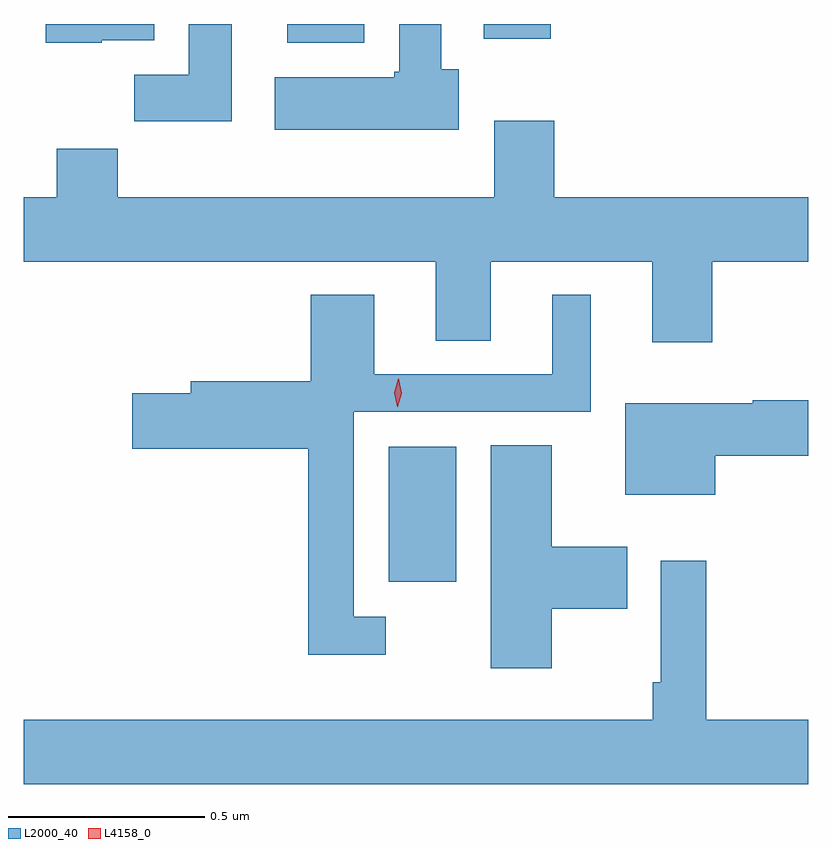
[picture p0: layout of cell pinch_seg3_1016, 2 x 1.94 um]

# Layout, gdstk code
import gdstk
lib = gdstk.Library(unit=1e-6, precision=1e-09)
def R(c, l, rs):  # rectangles x0, y0, x1, y1
    for r in rs: c.add(gdstk.rectangle(r[:2], r[2:], *l))
def P(c, l, *ps):  # polygons
    for p in ps: c.add(gdstk.Polygon(p, *l))
L2000_40 = (2000, 40)
L4158_0 = (4158, 0)

pinch_seg3_1016 = lib.new_cell('pinch_seg3_1016')
R(pinch_seg3_1016, L2000_40, [(463.469,693.44,463.642,693.784), (463.211,694.814,463.407,694.862), (463.712,694.824,463.883,694.862)])
P(pinch_seg3_1016, L2000_40, [(462.738,694.82),(462.871,694.82),(462.871,694.862),(462.595,694.862),(462.595,694.814),(462.738,694.814)],
  [(463.069,694.862),(462.959,694.862),(462.959,694.732),(462.82,694.732),(462.82,694.614),(463.069,694.614)],
  [(463.648,694.746),(463.603,694.746),(463.603,694.862),(463.496,694.862),(463.496,694.74),(463.483,694.74),(463.483,694.726),(463.179,694.726),(463.179,694.592),(463.648,694.592)],
  [(464.294,694.256),(464.539,694.256),(464.539,694.42),(463.892,694.42),(463.892,694.615),(463.739,694.615),(463.739,694.42),(462.779,694.42),(462.779,694.544),(462.623,694.544),(462.623,694.42),(462.539,694.42),(462.539,694.256),(463.589,694.256),(463.589,694.054),(463.729,694.054),(463.729,694.256),(464.141,694.256),(464.141,694.05),(464.294,694.05)],
  [(463.462,693.351),(463.38,693.351),(463.38,693.873),(463.984,693.873),(463.984,694.171),(463.886,694.171),(463.886,693.969),(463.432,693.969),(463.432,694.171),(463.271,694.171),(463.271,693.951),(462.965,693.951),(462.965,693.921),(462.816,693.921),(462.816,693.779),(463.264,693.779),(463.264,693.254),(463.462,693.254)],
  [(464.302,693.761),(464.539,693.761),(464.539,693.903),(464.398,693.903),(464.398,693.895),(464.072,693.895),(464.072,693.662),(464.302,693.662)],
  [(463.885,693.371),(464.078,693.371),(464.078,693.529),(463.885,693.529),(463.885,693.788),(463.73,693.788),(463.73,693.219),(463.885,693.219)],
  [(464.539,693.088),(464.279,693.088),(464.279,693.493),(464.163,693.493),(464.163,693.184),(464.143,693.184),(464.143,693.088),(462.539,693.088),(462.539,692.924),(464.539,692.924)])
P(pinch_seg3_1016, L4158_0, [(463.491,693.886),(463.491,693.886),(463.483,693.922),(463.494,693.957),(463.495,693.957),(463.495,693.957),(463.503,693.921),(463.492,693.886)])

lib.write_gds('pinch_seg3_1016.gds')
